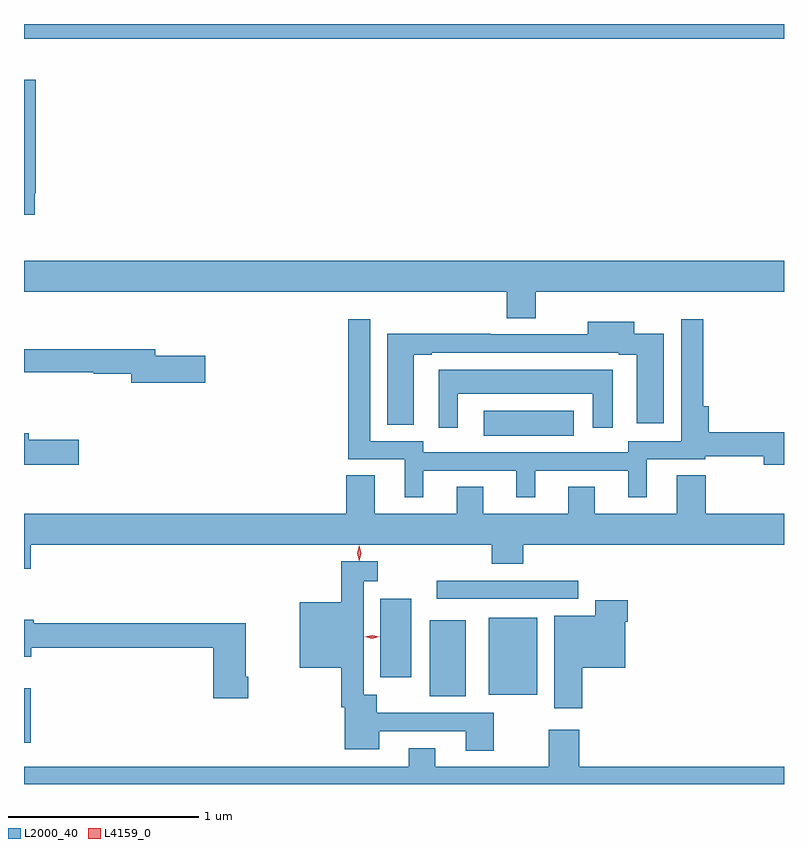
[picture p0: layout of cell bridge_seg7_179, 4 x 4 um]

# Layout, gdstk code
import gdstk
lib = gdstk.Library(unit=1e-6, precision=1e-09)
def R(c, l, rs):  # rectangles x0, y0, x1, y1
    for r in rs: c.add(gdstk.rectangle(r[:2], r[2:], *l))
def P(c, l, *ps):  # polygons
    for p in ps: c.add(gdstk.Polygon(p, *l))
L2000_40 = (2000, 40)
L4159_0 = (4159, 0)

bridge_seg7_179 = lib.new_cell('bridge_seg7_179')
R(bridge_seg7_179, L2000_40, [(448.052,1028.88,448.088,1029.166), (450.188,1029.125,450.376,1029.523), (450.497,1029.131,450.754,1029.538), (449.927,1029.225,450.091,1029.637), (450.225,1029.636,450.97,1029.732), (450.471,1030.496,450.946,1030.627), (448.052,1032.584,452.052,1032.662)])
P(bridge_seg7_179, L2000_40, [(448.108,1031.77),(448.115,1031.77),(448.115,1032.368),(448.052,1032.368),(448.052,1031.658),(448.108,1031.658)],
  [(450.745,1031.252),(452.052,1031.252),(452.052,1031.416),(448.052,1031.416),(448.052,1031.252),(450.593,1031.252),(450.593,1031.113),(450.745,1031.113)],
  [(450.154,1030.311),(450.644,1030.311),(450.644,1030.17),(450.742,1030.17),(450.742,1030.311),(451.232,1030.311),(451.232,1030.17),(451.33,1030.17),(451.33,1030.371),(451.638,1030.371),(451.638,1030.386),(451.946,1030.386),(451.946,1030.343),(452.052,1030.343),(452.052,1030.514),(451.655,1030.514),(451.655,1030.651),(451.628,1030.651),(451.628,1031.107),(451.512,1031.107),(451.512,1030.467),(451.233,1030.467),(451.233,1030.407),(450.153,1030.407),(450.153,1030.467),(449.874,1030.467),(449.874,1031.107),(449.758,1031.107),(449.758,1030.371),(450.056,1030.371),(450.056,1030.17),(450.154,1030.17)],
  [(450.103,1030.92),(450.199,1030.92),(450.199,1030.932),(451.181,1030.932),(451.181,1030.92),(451.277,1030.92),(451.277,1030.56),(451.42,1030.56),(451.42,1031.031),(451.264,1031.031),(451.264,1031.095),(451.019,1031.095),(451.019,1031.028),(450.509,1031.028),(450.509,1031.031),(449.963,1031.031),(449.963,1030.554),(450.103,1030.554)],
  [(449.005,1030.917),(448.744,1030.917),(448.744,1030.951),(448.052,1030.951),(448.052,1030.83),(448.42,1030.83),(448.42,1030.822),(448.616,1030.822),(448.616,1030.775),(449.005,1030.775)],
  [(450.334,1030.715),(451.046,1030.715),(451.046,1030.536),(451.15,1030.536),(451.15,1030.843),(450.236,1030.843),(450.236,1030.536),(450.334,1030.536)],
  [(448.339,1030.473),(448.078,1030.473),(448.078,1030.507),(448.052,1030.507),(448.052,1030.343),(448.339,1030.343)],
  [(448.088,1029.92),(450.515,1029.92),(450.515,1029.821),(450.68,1029.821),(450.68,1029.92),(452.052,1029.92),(452.052,1030.084),(451.64,1030.084),(451.64,1030.286),(451.487,1030.286),(451.487,1030.084),(451.057,1030.084),(451.057,1030.226),(450.917,1030.226),(450.917,1030.084),(450.469,1030.084),(450.469,1030.226),(450.329,1030.226),(450.329,1030.084),(449.899,1030.084),(449.899,1030.286),(449.747,1030.286),(449.747,1030.084),(448.052,1030.084),(448.052,1029.796),(448.088,1029.796)],
  [(450.525,1029.036),(449.908,1029.036),(449.908,1029.133),(449.839,1029.133),(449.839,1029.729),(449.914,1029.729),(449.914,1029.835),(449.722,1029.835),(449.722,1029.619),(449.504,1029.619),(449.504,1029.275),(449.722,1029.275),(449.722,1029.065),(449.741,1029.065),(449.741,1028.846),(449.923,1028.846),(449.923,1028.94),(450.377,1028.94),(450.377,1028.838),(450.525,1028.838)],
  [(450.989,1029.275),(451.216,1029.275),(451.216,1029.515),(451.229,1029.515),(451.229,1029.628),(451.058,1029.628),(451.058,1029.547),(450.842,1029.547),(450.842,1029.06),(450.989,1029.06)],
  [(449.231,1029.226),(449.218,1029.226),(449.218,1029.507),(448.103,1029.507),(448.103,1029.526),(448.052,1029.526),(448.052,1029.332),(448.09,1029.332),(448.09,1029.379),(449.048,1029.379),(449.048,1029.114),(449.231,1029.114)],
  [(452.052,1028.752),(450.974,1028.752),(450.974,1028.947),(450.814,1028.947),(450.814,1028.752),(450.217,1028.752),(450.217,1028.851),(450.077,1028.851),(450.077,1028.752),(448.052,1028.752),(448.052,1028.662),(452.052,1028.662)])
P(bridge_seg7_179, L4159_0, [(449.884,1029.426),(449.846,1029.436),(449.846,1029.436),(449.846,1029.437),(449.884,1029.446),(449.922,1029.437),(449.922,1029.436),(449.922,1029.436)],
  [(449.817,1029.834),(449.816,1029.835),(449.807,1029.876),(449.816,1029.917),(449.817,1029.917),(449.817,1029.917),(449.827,1029.876),(449.817,1029.835)])

lib.write_gds('bridge_seg7_179.gds')
